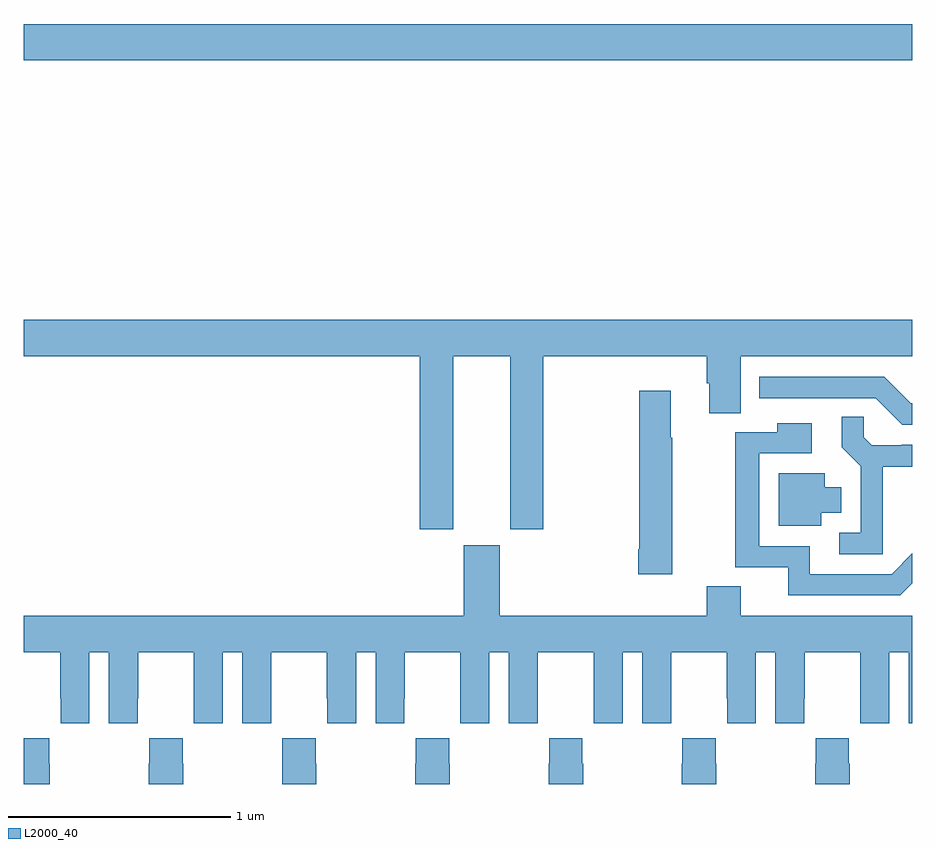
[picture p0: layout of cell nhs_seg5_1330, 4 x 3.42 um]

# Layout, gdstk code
import gdstk
lib = gdstk.Library(unit=1e-6, precision=1e-09)
def R(c, l, rs):  # rectangles x0, y0, x1, y1
    for r in rs: c.add(gdstk.rectangle(r[:2], r[2:], *l))
def P(c, l, *ps):  # polygons
    for p in ps: c.add(gdstk.Polygon(p, *l))
L2000_40 = (2000, 40)

nhs_seg5_1330 = lib.new_cell('nhs_seg5_1330')
R(nhs_seg5_1330, L2000_40, [(191,894.056,195,894.22)])
P(nhs_seg5_1330, L2000_40, [(192.934,892.724),(193.19,892.724),(193.19,891.945),(193.338,891.945),(193.338,892.724),(194.075,892.724),(194.075,892.602),(194.087,892.602),(194.087,892.468),(194.227,892.468),(194.227,892.724),(195,892.724),(195,892.888),(191,892.888),(191,892.724),(192.782,892.724),(192.782,891.945),(192.934,891.945)],
  [(195,892.512),(194.994,892.512),(194.874,892.632),(194.312,892.632),(194.312,892.536),(194.835,892.536),(194.955,892.416),(195,892.416)],
  [(193.92,892.357),(193.912,892.357),(193.912,892.57),(193.771,892.57),(193.771,891.856),(193.766,891.856),(193.766,891.744),(193.92,891.744)],
  [(194.867,892.226),(195,892.226),(195,892.326),(194.952,892.326),(194.952,892.323),(194.818,892.323),(194.781,892.36),(194.781,892.451),(194.683,892.451),(194.683,892.315),(194.769,892.229),(194.769,891.93),(194.67,891.93),(194.67,891.834),(194.867,891.834)],
  [(195,891.702),(195,891.837),(194.907,891.744),(194.539,891.744),(194.539,891.87),(194.31,891.87),(194.31,892.287),(194.548,892.287),(194.548,892.423),(194.392,892.423),(194.392,892.383),(194.202,892.383),(194.202,891.774),(194.441,891.774),(194.441,891.648),(194.946,891.648)],
  [(194.59,892.019),(194.68,892.019),(194.68,892.135),(194.605,892.135),(194.605,892.198),(194.399,892.198),(194.399,891.962),(194.59,891.962)],
  [(191.296,891.392),(191.384,891.392),(191.384,891.072),(191.514,891.072),(191.514,891.184),(191.515,891.184),(191.515,891.392),(191.765,891.392),(191.765,891.184),(191.766,891.184),(191.766,891.072),(191.896,891.072),(191.896,891.392),(191.984,891.392),(191.984,891.072),(192.114,891.072),(192.114,891.184),(192.115,891.184),(192.115,891.392),(192.365,891.392),(192.365,891.184),(192.366,891.184),(192.366,891.072),(192.496,891.072),(192.496,891.392),(192.584,891.392),(192.584,891.072),(192.714,891.072),(192.714,891.184),(192.715,891.184),(192.715,891.392),(192.965,891.392),(192.965,891.184),(192.966,891.184),(192.966,891.072),(193.096,891.072),(193.096,891.392),(193.184,891.392),(193.184,891.072),(193.314,891.072),(193.314,891.184),(193.315,891.184),(193.315,891.392),(193.565,891.392),(193.565,891.184),(193.566,891.184),(193.566,891.072),(193.696,891.072),(193.696,891.392),(193.784,891.392),(193.784,891.072),(193.914,891.072),(193.914,891.184),(193.915,891.184),(193.915,891.392),(194.165,891.392),(194.165,891.184),(194.166,891.184),(194.166,891.072),(194.296,891.072),(194.296,891.392),(194.384,891.392),(194.384,891.072),(194.514,891.072),(194.514,891.184),(194.515,891.184),(194.515,891.392),(194.765,891.392),(194.765,891.184),(194.766,891.184),(194.766,891.072),(194.896,891.072),(194.896,891.392),(194.984,891.392),(194.984,891.072),(195,891.072),(195,891.556),(194.227,891.556),(194.227,891.689),(194.075,891.689),(194.075,891.556),(193.144,891.556),(193.144,891.873),(192.98,891.873),(192.98,891.556),(191,891.556),(191,891.392),(191.165,891.392),(191.165,891.184),(191.166,891.184),(191.166,891.072),(191.296,891.072)],
  [(191.118,890.891),(191.115,890.891),(191.115,891.004),(191,891.004),(191,890.799),(191.118,890.799)],
  [(191.718,890.891),(191.715,890.891),(191.715,891.004),(191.565,891.004),(191.565,890.891),(191.563,890.891),(191.563,890.799),(191.718,890.799)],
  [(192.318,890.891),(192.315,890.891),(192.315,891.004),(192.165,891.004),(192.165,890.891),(192.163,890.891),(192.163,890.799),(192.318,890.799)],
  [(192.918,890.891),(192.915,890.891),(192.915,891.004),(192.765,891.004),(192.765,890.891),(192.763,890.891),(192.763,890.799),(192.918,890.799)],
  [(193.518,890.891),(193.515,890.891),(193.515,891.004),(193.365,891.004),(193.365,890.891),(193.363,890.891),(193.363,890.799),(193.518,890.799)],
  [(194.118,890.891),(194.115,890.891),(194.115,891.004),(193.965,891.004),(193.965,890.891),(193.963,890.891),(193.963,890.799),(194.118,890.799)],
  [(194.718,890.891),(194.715,890.891),(194.715,891.004),(194.565,891.004),(194.565,890.891),(194.563,890.891),(194.563,890.799),(194.718,890.799)])

lib.write_gds('nhs_seg5_1330.gds')
